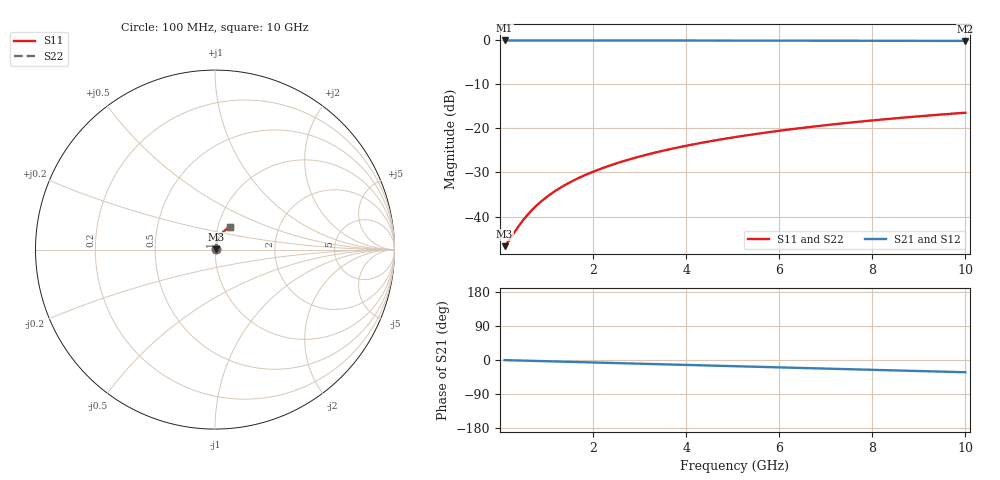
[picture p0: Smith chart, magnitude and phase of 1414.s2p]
# Hz S RI R 50.00
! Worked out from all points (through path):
!   100 points, 100 MHz to 10 GHz, reference 50 ohm
!   highest |S21| = -0.04 dB at 100 MHz (marker M1); lowest = -0.1 dB at 10 GHz (marker M2)
!   group delay of S21, straight-line fit = 8.98 ps
!   lowest |S11| = -46.7 dB at 100 MHz (marker M3), VSWR 1.01, Z = 50.4 + j0.159 ohm
!   |S11| at or under -10 dB: start of sweep to end of sweep
!   |S22| runs from -46.7 to -16.4 dB; largest |S21 - S12| = 0
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1e8  0.00434 0.00158  0.9956 -0.00564  0.9956 -0.00564  0.00434 0.00158
2e8  0.00439 0.00315  0.9956 -0.0113  0.9956 -0.0113  0.00439 0.00315
4e8  0.00453 0.0063  0.9953 -0.0226  0.9953 -0.0226  0.00453 0.0063
5e8  0.00463 0.00787  0.9951 -0.0282  0.9951 -0.0282  0.00463 0.00787
6e8  0.00474 0.00945  0.9949 -0.0338  0.9949 -0.0338  0.00474 0.00945
7e8  0.00486 0.011  0.9947 -0.0395  0.9947 -0.0395  0.00486 0.011
8e8  0.00501 0.0126  0.9944 -0.0451  0.9944 -0.0451  0.00501 0.0126
1e9  0.00534 0.0157  0.9938 -0.0564  0.9938 -0.0564  0.00534 0.0157
1.2e9  0.00575 0.0188  0.993 -0.0676  0.993 -0.0676  0.00575 0.0188
1.5e9  0.00649 0.0235  0.9916 -0.0845  0.9916 -0.0845  0.00649 0.0235
1.8e9  0.00739 0.0281  0.9899 -0.1013  0.9899 -0.1013  0.00739 0.0281
2.1e9  0.00844 0.0327  0.9878 -0.1181  0.9878 -0.1181  0.00844 0.0327
2.5e9  0.0101 0.0388  0.9846 -0.1404  0.9846 -0.1404  0.0101 0.0388
2.9e9  0.012 0.0448  0.9809 -0.1626  0.9809 -0.1626  0.012 0.0448
3.4e9  0.0148 0.0522  0.9755 -0.1902  0.9755 -0.1902  0.0148 0.0522
4.2e9  0.02 0.0635  0.9651 -0.2339  0.9651 -0.2339  0.02 0.0635
5.1e9  0.0272 0.0757  0.951 -0.2824  0.951 -0.2824  0.0272 0.0757
5.9e9  0.0345 0.0858  0.9363 -0.3247  0.9363 -0.3247  0.0345 0.0858
6.7e9  0.0427 0.0953  0.9195 -0.3661  0.9195 -0.3661  0.0427 0.0953
7.5e9  0.0518 0.1039  0.9009 -0.4066  0.9009 -0.4066  0.0518 0.1039
8.4e9  0.0628 0.1125  0.8778 -0.4509  0.8778 -0.4509  0.0628 0.1125
1e10  0.0842 0.125  0.8313 -0.5259  0.8313 -0.5259  0.0842 0.125
